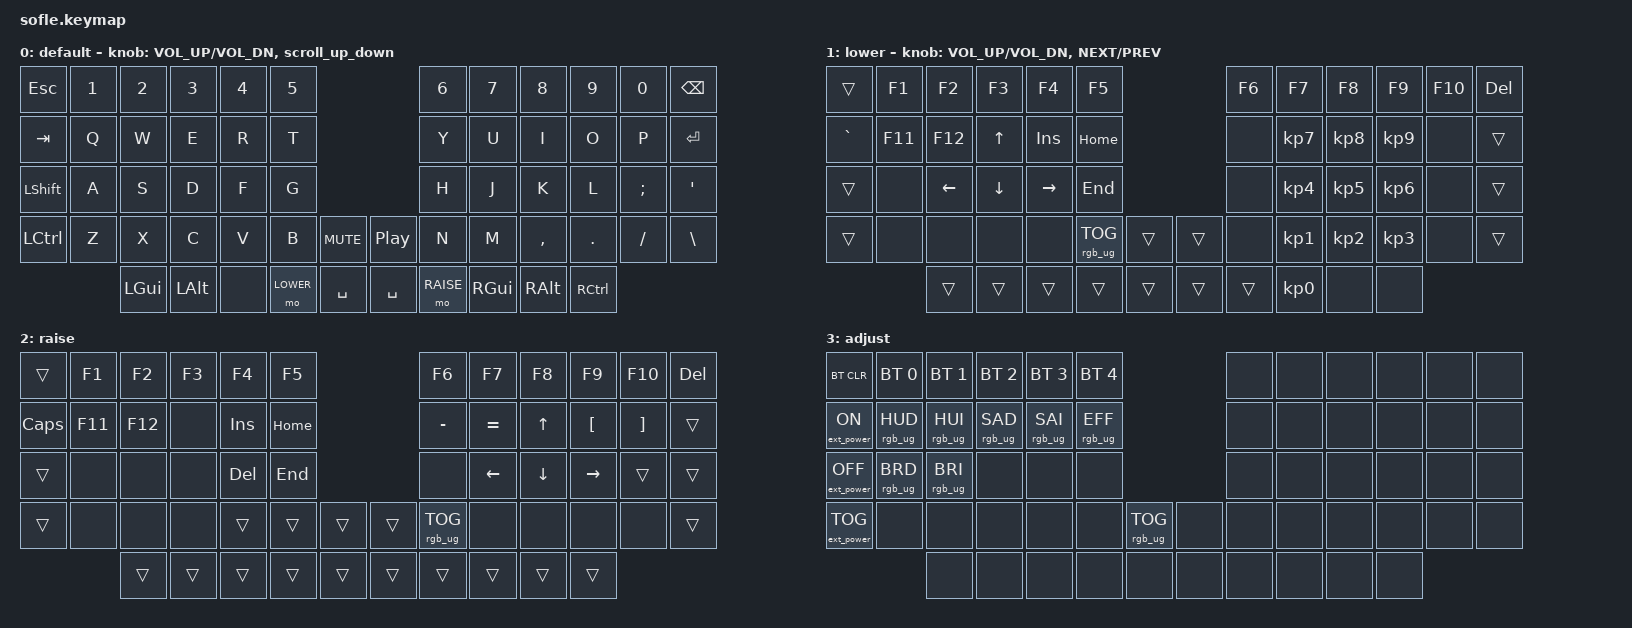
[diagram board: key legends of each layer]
/*
 * Copyright (c) 2020 The ZMK Contributors
 *
 * SPDX-License-Identifier: MIT
 */

#define ZMK_MOUSE_DEFAULT_SCRL_VAL 1000
#define ZMK_MOUSE_SCRL_VAL 1000

#define BASE   0
#define LOWER  1
#define RAISE  2
#define ADJUST 3

#include <behaviors.dtsi>
#include <dt-bindings/zmk/keys.h>
#include <dt-bindings/zmk/bt.h>
#include <dt-bindings/zmk/rgb.h>
#include <dt-bindings/zmk/ext_power.h>
#include <dt-bindings/zmk/pointing.h>

&left_encoder {
    compatible = "alps,ec11";
    steps = <30>;
};

&right_encoder {
    compatible = "alps,ec11";
    steps = <30>;
};

&sensors {
    compatible = "zmk,keymap-sensors";
    sensors = <&left_encoder &right_encoder>;
    triggers-per-rotation = <15>;
};

/ {

   // Activate ADJUST layer by pressing raise and lower
    conditional_layers {
        compatible = "zmk,conditional-layers";
        adjust_layer {
            if-layers = <LOWER RAISE>;
            then-layer = <ADJUST>;
        };
    };

   behaviors {
        scroll_up_down: scroll_up_down {
            compatible = "zmk,behavior-sensor-rotate";
            #sensor-binding-cells = <0>;
            bindings = <&msc SCRL_UP>, <&msc SCRL_DOWN>;
            tap-ms = <10>;
        };
    };

    keymap {
        compatible = "zmk,keymap";

        default_layer {
            display-name = "default";
            bindings = <
            //╭────────────┬────────────┬────────────┬────────────┬────────────┬────────────╮                             ╭────────────┬────────────┬────────────┬────────────┬────────────┬────────────╮
            //│  ESC       │  1         │  2         │  3         │  4         │  5         │                             │  6         │  7         │  8         │  9         │  0         │  BKSPC     │
                &kp ESC       &kp N1      &kp N2       &kp N3       &kp N4        &kp N5                                    &kp N6       &kp N7        &kp N8       &kp N9      &kp N0       &kp BSPC                                                                                                                                                                       
            //├────────────┼────────────┼────────────┼────────────┼────────────┼────────────┤                             ├────────────┼────────────┼────────────┼────────────┼────────────┼────────────┤
            //│  TAB       │  Q         │  W         │  E         │  R         │  T         │                             │  Y         │  U         │  I         │  O         │  P         │  ENTER     │
                &kp TAB      &kp Q        &kp W        &kp E        &kp R        &kp T                                      &kp Y        &kp U        &kp I        &kp O        &kp P        &kp ENTER
            //├────────────┼────────────┼────────────┼────────────┼────────────┼────────────┤                             ├────────────┼────────────┼────────────┼────────────┼────────────┼────────────┤
            //│  LSHIFT    │  A         │  S         │  D         │  F         │  G         │                             │  H         │  J         │  K         │  L         │  L         │  ' "       │
                &kp LSHFT    &kp A        &kp S        &kp D        &kp F        &kp G                                      &kp H        &kp J        &kp K        &kp L        &kp SEMI     &kp SQT
            //├────────────┼────────────┼────────────┼────────────┼────────────┼────────────┼─L ENCODER──╮   ╭─R ENCODER──┼────────────┼────────────┼────────────┼────────────┼────────────┼────────────┤
            //│  LCTRL     │  Z         │  X         │  C         │  V         │  B         │            │   │            │  N         │  M         │  , <       │  . <       │  . >       │  \ |       │
                &kp LCTRL    &kp Z        &kp X        &kp C        &kp V        &kp B        &kp C_MUTE       &kp C_PP     &kp N        &kp M        &kp COMMA    &kp DOT      &kp FSLH     &kp BSLH
            //╰────────────┴────────────┼────────────┼────────────┼────────────┼────────────┼────────────┤   ├────────────┼────────────┼────────────┼────────────┼────────────┼────────────┴────────────╯
            //                          │            │            │            │            │            │   │            │            │            │            │            │
                                          &kp LGUI     &kp LALT     &none        &mo LOWER    &kp SPACE        &kp SPACE    &mo RAISE    &kp RGUI     &kp RALT     &kp RCTRL   
            //                          ╰────────────┴────────────┴────────────┴────────────┴────────────╯   ╰────────────┴────────────┴────────────┴────────────┴────────────╯
            >;

            sensor-bindings = <&inc_dec_kp C_VOL_UP C_VOL_DN>, <&scroll_up_down>;
        };

        lower_layer {
            display-name = "lower";
            bindings = <
            //╭────────────┬────────────┬────────────┬────────────┬────────────┬────────────╮                             ╭────────────┬────────────┬────────────┬────────────┬────────────┬────────────╮
            //│            │  F1        │  F2        │  F3        │  F4        │  F5        │                             │  F6        │  F7        │  F8        │  F9        │  F10       │  DELETE    │
                &trans       &kp F1       &kp F2       &kp F3       &kp F4       &kp F5                                     &kp F6       &kp F7       &kp F8       &kp F9       &kp F10      &kp DEL     
            //├────────────┼────────────┼────────────┼────────────┼────────────┼────────────┤                             ├────────────┼────────────┼────────────┼────────────┼────────────┼────────────┤
            //│  `         │  F11       │  F12       │  ^         │  INSERT    │  HOME      │                             │            │  7         │  8         │  9         │            │            │
                &kp GRAVE    &kp F11      &kp F12      &kp UP       &kp INS      &kp HOME                                   &none        &kp KP_N7    &kp KP_N8    &kp KP_N9    &none        &trans      
            //├────────────┼────────────┼────────────┼────────────┼────────────┼────────────┤                             ├────────────┼────────────┼────────────┼────────────┼────────────┼────────────┤
            //│            │            │  <-        │  v         │  ->        │  END       │                             │            │  4         │  5         │  6         │            │            │
                &trans       &none        &kp LEFT     &kp DOWN     &kp RIGHT    &kp END                                    &none        &kp KP_N4    &kp KP_N5    &kp KP_N6    &none        &trans      
            //├────────────┼────────────┼────────────┼────────────┼────────────┼────────────┼─L ENCODER──╮   ╭─R ENCODER──┼────────────┼────────────┼────────────┼────────────┼────────────┼────────────┤
            //│            │            │            │            │            │ PWR TOGGLE │            │   │            │            │  1         │  2         │  3         │            │            │
                &trans       &none        &none        &none        &none      &rgb_ug RGB_TOG    &trans       &trans       &none        &kp KP_N1    &kp KP_N2    &kp KP_N3    &none        &trans      
            //╰────────────┴────────────┼────────────┼────────────┼────────────┼────────────┼────────────┤   ├────────────┼────────────┼────────────┼────────────┼────────────┼────────────┴────────────╯
            //                          │            │            │            │            │            │   │            │            │  0         │            │            │
                                          &trans       &trans       &trans       &trans       &trans           &trans       &trans       &kp KP_N0    &none        &none       
            //                          ╰────────────┴────────────┴────────────┴────────────┴────────────╯   ╰────────────┴────────────┴────────────┴────────────┴────────────╯
            >;

            sensor-bindings = <&inc_dec_kp C_VOL_UP C_VOL_DN>, <&inc_dec_kp C_NEXT C_PREV>;
        };

        raise_layer {
            display-name = "raise";
            bindings = <
            //╭────────────┬────────────┬────────────┬────────────┬────────────┬────────────╮                             ╭────────────┬────────────┬────────────┬────────────┬────────────┬────────────╮
            //│            │  F1        │  F2        │  F3        │  F4        │  F5        │                             │  F6        │  F7        │  F8        │  F9        │  F10       │  DELETE    │
                &trans       &kp F1       &kp F2       &kp F3       &kp F4       &kp F5                                     &kp F6       &kp F7       &kp F8       &kp F9       &kp F10      &kp DEL
            //├────────────┼────────────┼────────────┼────────────┼────────────┼────────────┤                             ├────────────┼────────────┼────────────┼────────────┼────────────┼────────────┤
            //│ CAPSLOCK   │  F11       │  F12       │            │  INSERT    │  HOME      │                             │  -         │  =         │  ^         │  [         │  ]         │            │
                &kp CAPS     &kp F11      &kp F12      &none        &kp INS      &kp HOME                                   &kp MINUS    &kp EQUAL    &kp UP       &kp LBKT     &kp RBKT     &trans
            //├────────────┼────────────┼────────────┼────────────┼────────────┼────────────┤                             ├────────────┼────────────┼────────────┼────────────┼────────────┼────────────┤
            //│            │            │            │            │  DELETE    │  END       │                             │            │  <-        │  v         │  ->        │            │            │
                &trans       &none        &none        &none        &kp DEL      &kp END                                    &none        &kp LEFT     &kp DOWN     &kp RIGHT    &trans       &trans    
            //├────────────┼────────────┼────────────┼────────────┼────────────┼────────────┼─L ENCODER──╮   ╭─R ENCODER──┼────────────┼────────────┼────────────┼────────────┼────────────┼────────────┤
            //│            │            │            │            │            │            │            │   │            │ PWR TOGGLE │            │            │            │            │            │
                &trans       &none        &none        &none        &trans       &trans       &trans           &trans   &rgb_ug RGB_TOG  &none        &none        &none        &none        &trans
            //╰────────────┴────────────┼────────────┼────────────┼────────────┼────────────┼────────────┤   ├────────────┼────────────┼────────────┼────────────┼────────────┼────────────┴────────────╯
            //                          │            │            │            │            │            │   │            │            │            │            │            │
                                          &trans       &trans       &trans       &trans       &trans           &trans       &trans       &trans       &trans       &trans
            //                          ╰────────────┴────────────┴────────────┴────────────┴────────────╯   ╰────────────┴────────────┴────────────┴────────────┴────────────╯
            >;
        };

        adjust_layer {
            display-name = "adjust";
            bindings = <
            //╭────────────────┬────────────────┬────────────────┬────────────────┬────────────────┬────────────────╮                                 ╭──────────────┬──────────────┬──────────────┬──────────────┬──────────────┬──────────────╮
            //│  CLEAR BT      │  BT1           │  BT2           │  BT3           │  BT4           │  BT5           │                                 │              │              │              │              │              │UNLOCK ZMK STUDIO
                &bt BT_CLR       &bt BT_SEL 0     &bt BT_SEL 1     &bt BT_SEL 2     &bt BT_SEL 3     &bt BT_SEL 4                                       &none          &none          &none          &none          &none          &none // &studio_unlock        
            //├────────────────┼────────────────┼────────────────┼────────────────┼────────────────┼────────────────┤                                 ├──────────────┼──────────────┼──────────────┼──────────────┼──────────────┼──────────────┤
            //│ ENABLE EXT PWR │  RGB_HUD       │  RGB_HUI       │  RGB_SAD       │  RGB_SAI       │  RGB_EFF       │                                 │              │              │              │              │              │              │
               &ext_power EP_ON  &rgb_ug RGB_HUD  &rgb_ug RGB_HUI  &rgb_ug RGB_SAD  &rgb_ug RGB_SAI  &rgb_ug RGB_EFF                                    &none          &none          &none          &none          &none          &none
            //├────────────────┼────────────────┼────────────────┼────────────────┼────────────────┼────────────────┤                                 ├──────────────┼──────────────┼──────────────┼──────────────┼──────────────┼──────────────┤
            //│ DISABLE EXT PWR│  RGB_BRD       │  RGB_BRI       │                │                │                │                                 │              │              │              │              │              │              │
               &ext_power EP_OFF &rgb_ug RGB_BRD  &rgb_ug RGB_BRI  &none            &none            &none                                              &none          &none          &none          &none          &none          &none    
            //├────────────────┼────────────────┼────────────────┼────────────────┼────────────────┼────────────────┼─L ENCODER────╮   ╭─R ENCODER────┼──────────────┼──────────────┼──────────────┼──────────────┼──────────────┼──────────────┤
            //│ TOGGLE EXT PWR │                │                │                │                │                │ RGB TOGGLE   │   │              │              │              │              │              │              │              │
               &ext_power EP_TOG &none            &none            &none            &none            &none           &rgb_ug RGB_TOG     &none          &none          &none          &none          &none          &none          &none
            //╰────────────────┴────────────────┼────────────────┼────────────────┼────────────────┼────────────────┼──────────────┤   ├──────────────┼──────────────┼──────────────┼──────────────┼──────────────┼──────────────┴──────────────╯
            //                                  │                │                │                │                │              │   │              │              │              │              │              │
                                                  &none            &none            &none            &none            &none              &none          &none          &none          &none          &none
            //                                  ╰────────────────┴────────────────┴────────────────┴────────────────┴──────────────╯   ╰──────────────┴──────────────┴──────────────┴──────────────┴──────────────╯
            >;
        };

    };
};
